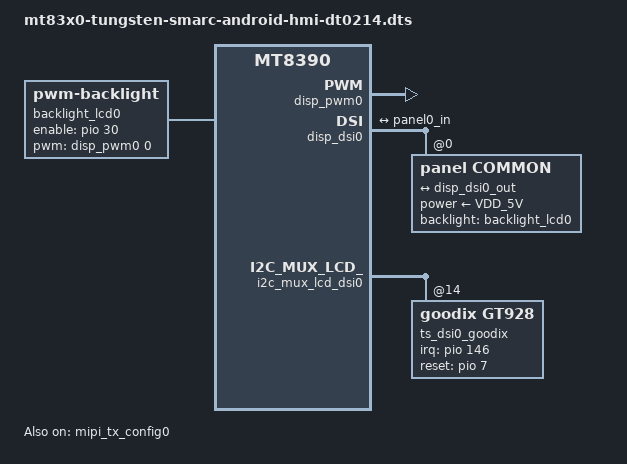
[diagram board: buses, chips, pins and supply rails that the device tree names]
// SPDX-License-Identifier: GPL-2.0
/*
 * Copyright (c) 2025 Ezurio LLC
 */

/dts-v1/;
/plugin/;

#include <dt-bindings/clock/mediatek,mt8188-clk.h>
#include <dt-bindings/gpio/gpio.h>
#include <dt-bindings/interrupt-controller/irq.h>
#include <dt-bindings/pinctrl/mediatek,mt8188-pinfunc.h>

#include "mt8390-genio-common-android.dtsi"

&{/} {
	backlight_lcd0: backlight-lcd0 {
		compatible = "pwm-backlight";
		pwms = <&disp_pwm0 0 30000>;
		enable-gpios = <&pio 30 GPIO_ACTIVE_HIGH>;
		brightness-levels = <0 1023>;
		num-interpolated-steps = <1023>;
		default-brightness-level = <768>;
	};
};

&disp_pwm0 {
	pinctrl-names = "default";
	pinctrl-0 = <&disp_pwm0_pin>;
	status = "okay";
};

&disp_dsi0 {
	#address-cells = <1>;
	#size-cells = <0>;
	poweron-in-hs-mode = <0>;
	status = "okay";

	panel: panel@0 {
		backlight = <&backlight_lcd0>;
		bits-per-color = <8>;
		bridge-de-active = <0>;
		bus-format = "rgb888";
		clocks = <&vdosys0 30>;
		clock-names = "mipi_clk";
		compatible = "panel,common";
		dsi-format = "rgb888";
		dsi-lanes = <4>;
		mode-skip-eot;
		mode-video;
		mode-video-burst;
		panel-height-mm = <136>;
		panel-width-mm = <217>;
		power-supply = <&VDD_5V>;
		reg = <0>;
		spwg;

		display-timings {
			mipi_t: t-dsi-default {
				clock-frequency = <71700000>;
				hactive = <1280>;
				vactive = <800>;
				hback-porch = <5>;
				hfront-porch = <151>;
				vback-porch = <2>;
				vfront-porch = <28>;
				hsync-len = <4>;
				vsync-len = <1>;
				hsync-active = <0>;
				vsync-active = <0>;
				de-active = <1>;
			};
		};

		port {
			panel0_in: endpoint {
				remote-endpoint = <&disp_dsi0_out>;
			};
		};
	};

	ports {
		port {
			disp_dsi0_out: endpoint {
				remote-endpoint = <&panel0_in>;
			};
		};
	};
};

&i2c_mux_lcd_dsi0 {
	#address-cells = <1>;
	#size-cells = <0>;

	ts_dsi0_goodix: touchscren@14 {
		compatible = "goodix,gt928";
		reg = <0x14>;
		pinctrl-names = "default";
		pinctrl-0 = <&ts_dsi0_goodix_pins>;
		interrupts-extended = <&pio 146 IRQ_TYPE_LEVEL_HIGH>;
		irq-gpios = <&pio 146 GPIO_ACTIVE_HIGH>;
		reset-gpios = <&pio 7 GPIO_ACTIVE_HIGH>;
	};
};

&mipi_tx_config0 {
	status = "okay";
};

&pio {
	disp_pwm0_pin: disp-pwm0-pin {
		pins1 {
			pinmux = <PINMUX_GPIO29__FUNC_O_DISP_PWM0>;
			bias-pull-down;
		};
	};

	ts_dsi0_goodix_pins: ts-dsi0-goodix-pins {
		pins-irq {
			pinmux = <PINMUX_GPIO146__FUNC_B_GPIO146>;
			bias-pull-up = <MTK_PUPD_SET_R1R0_01>;
			input-enable;
		};

		pins-reset {
			pinmux = <PINMUX_GPIO7__FUNC_B_GPIO7>;
			bias-pull-down;
		};
	};
};
